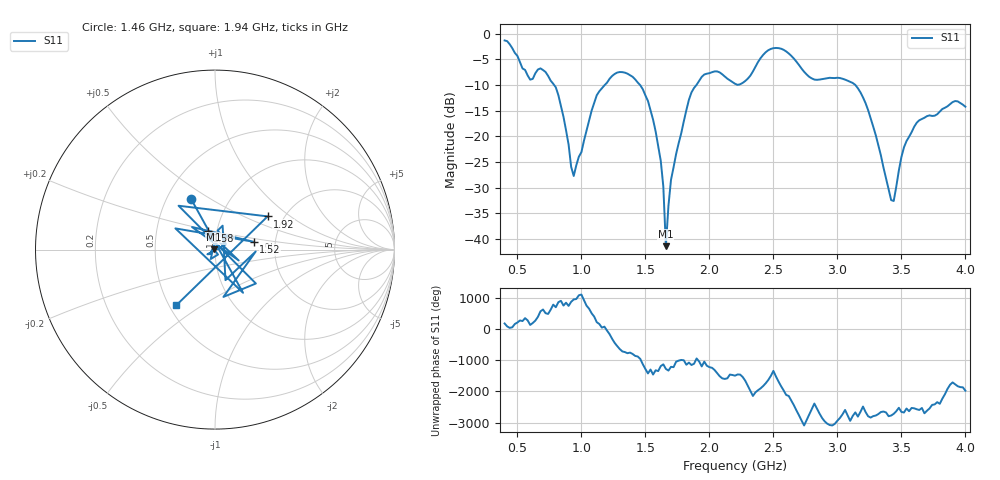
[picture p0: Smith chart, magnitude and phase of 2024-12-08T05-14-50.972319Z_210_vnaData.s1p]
!Created with skrf (http://scikit-rf.org).
# Hz S RI R 50.0
!freq ReS11 ImS11
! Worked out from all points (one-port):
!   181 points, 400 MHz to 4 GHz, reference 50 ohm
!   lowest |S11| = -41.4 dB at 1.66 GHz (marker M1), VSWR 1.02, Z = 49.2 + j0.346 ohm
!   |S11| at or under -10 dB: 786.9 MHz to 1.182 GHz (395.6 MHz wide, 40.2 % of centre); 1.458 GHz to 1.899 GHz (440.4 MHz wide, 26.2 % of centre); 3.14 GHz to end of sweep
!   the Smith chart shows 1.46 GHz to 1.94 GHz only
!   S11 on the Smith chart (normalised r, x): 1.46 GHz: 0.66, +0.42; 1.52 GHz: 1.55, +0.14; 1.58 GHz: 0.90, +0.19; 1.92 GHz: 1.65, +0.69; 1.94 GHz: 0.54, -0.39
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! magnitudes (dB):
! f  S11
! 400 MHz  -1.3
! 600 MHz  -9.0
! 720 MHz  -7.5
! 800 MHz  -10.5
! 860 MHz  -16.2
! 940 MHz  -27.7
! 1.12 GHz  -12.0
! 1.3 GHz  -7.5
! 1.46 GHz  -10.0
! 1.52 GHz  -13.1
! 1.58 GHz  -19.1
! 1.64 GHz  -29.8
! 1.66 GHz  -41.4
! 1.7 GHz  -28.5
! 1.76 GHz  -21.3
! 1.84 GHz  -12.9
! 1.92 GHz  -9.2
! 1.94 GHz  -8.4
! 2.2 GHz  -9.8
! 2.48 GHz  -3.0
! 2.66 GHz  -4.8
! 2.82 GHz  -8.9
! 3.1 GHz  -9.4
! 3.24 GHz  -14.9
! 3.42 GHz  -32.4
! 3.56 GHz  -20.1
! 3.9 GHz  -13.3
! 4 GHz  -14.2
